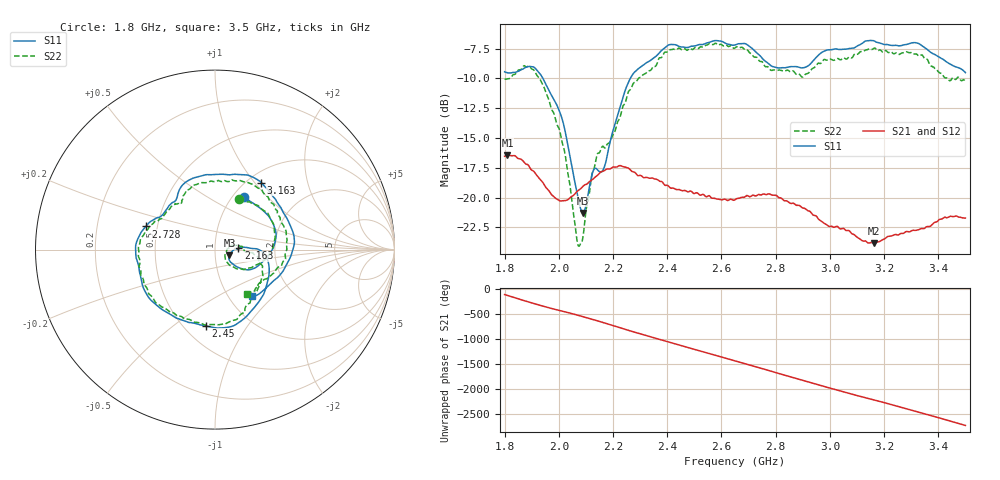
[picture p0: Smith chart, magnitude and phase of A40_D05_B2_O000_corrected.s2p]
! Created with skrf 1.9.0 (http://scikit-rf.org).
# Hz S RI R 50.0
!freq ReS11 ImS11 ReS21 ImS21 ReS12 ImS12 ReS22 ImS22
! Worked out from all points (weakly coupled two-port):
!   1601 points, 1.8 GHz to 3.5 GHz, reference 50 ohm
!   highest |S21| = -16.46 dB at 1.811 GHz (marker M1); lowest = -23.8 dB at 3.161 GHz (marker M2)
!   lowest |S11| = -21.3 dB at 2.09 GHz (marker M3), VSWR 1.19, Z = 58.6 - j3.68 ohm
!   |S11| at or under -10 dB: 1.941 GHz to 2.264 GHz (322.3 MHz wide, 15.3 % of centre)
!   |S22| runs from -24.1 to -7.1 dB; largest |S21 - S12| = 0.0024
!   S11 on the Smith chart (normalised r, x): 1.8 GHz: 1.12, +0.75; 2.163 GHz: 1.30, +0.02; 2.45 GHz: 0.64, -0.66; 2.728 GHz: 0.43, +0.13; 3.163 GHz: 1.15, +1.08; 3.5 GHz: 1.28, -0.75
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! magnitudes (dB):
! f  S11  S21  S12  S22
! 1.8 GHz  -9.4  -16.5  -16.5  -10.0
! 1.811 GHz  -9.5  -16.5  -16.5  -10.0
! 1.886 GHz  -9.0  -17.3  -17.3  -9.0
! 1.941 GHz  -10.0  -18.7  -18.7  -10.6
! 2.011 GHz  -13.3  -20.3  -20.3  -15.3
! 2.067 GHz  -19.6  -19.5  -19.5  -23.5
! 2.084 GHz  -21.1  -19.2  -19.1  -23.8
! 2.09 GHz  -21.3  -19.0  -19.1  -23.2
! 2.127 GHz  -17.7  -18.4  -18.4  -17.7
! 2.163 GHz  -17.7  -17.8  -17.7  -15.7
! 2.26 GHz  -10.2  -17.6  -17.6  -11.0
! 2.367 GHz  -8.0  -18.6  -18.5  -8.4
! 2.45 GHz  -7.4  -19.4  -19.4  -7.6
! 2.65 GHz  -7.2  -20.2  -20.1  -7.4
! 2.728 GHz  -7.8  -19.9  -19.9  -8.2
! 2.806 GHz  -9.1  -19.9  -19.9  -9.3
! 2.934 GHz  -8.6  -21.3  -21.3  -9.2
! 3.161 GHz  -6.8  -23.8  -23.7  -7.5
! 3.163 GHz  -6.9  -23.8  -23.8  -7.5
! 3.217 GHz  -7.2  -23.3  -23.2  -7.8
! 3.324 GHz  -7.0  -22.7  -22.7  -8.0
! 3.5 GHz  -9.5  -21.7  -21.7  -10.3
